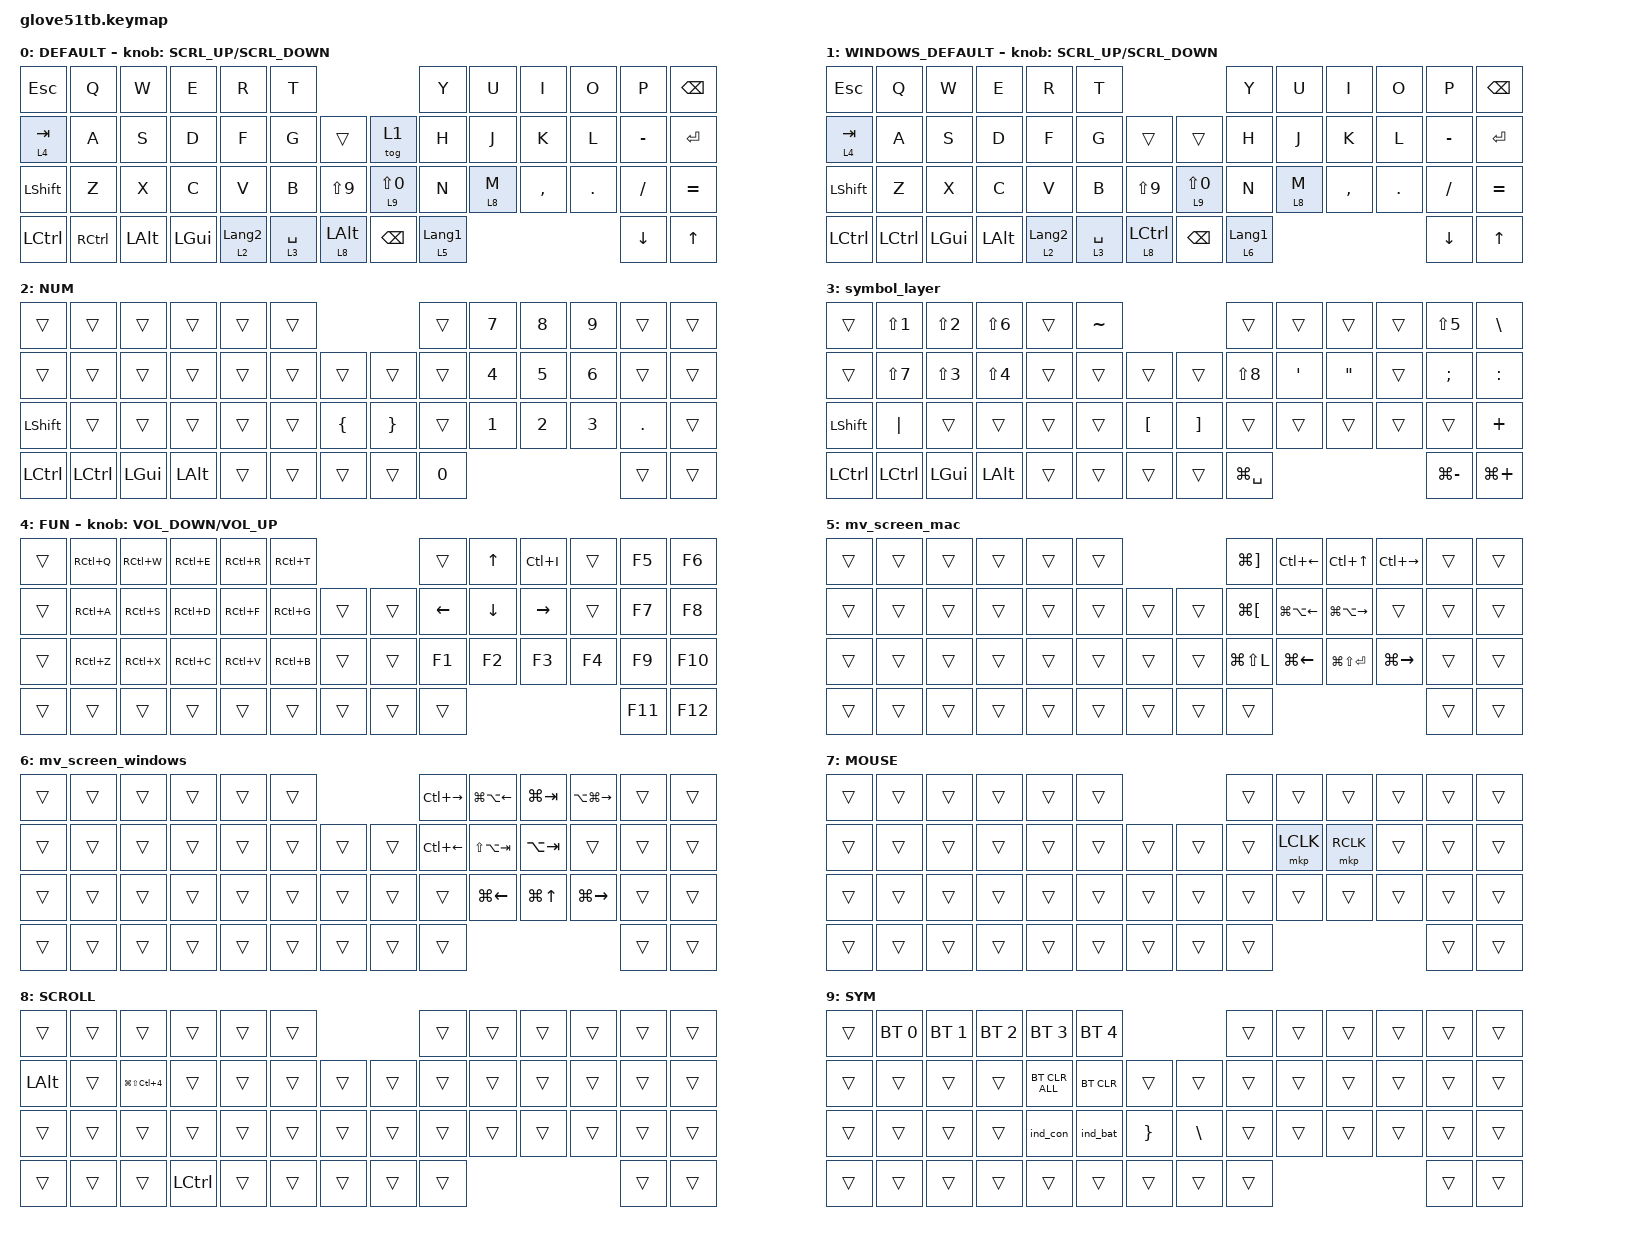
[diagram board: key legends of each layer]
#define ZMK_POINTING_DEFAULT_SCRL_VAL 150

#include <behaviors/rgbled_widget.dtsi>
#include <dt-bindings/zmk/input_transform.h>
#include <input/processors.dtsi>
#include <zephyr/dt-bindings/input/input-event-codes.h>
#include <behaviors.dtsi>
#include <dt-bindings/zmk/bt.h>
#include <dt-bindings/zmk/keys.h>
#include <dt-bindings/zmk/pointing.h>

// Layer Numbering

#define DEFAULT     0
#define WIN_DEFAULT 1
#define NUM         2
#define SYM         3
#define FUN         4
#define MV_MAC      5
#define MV_WIN      6
#define MOUSE       7
#define SCROLL      8
#define BLUETOOTH   9

// ZMKで対応していない、日本語キーの設定

#define JP_DQUOTE       AT                // "
#define JP_AMPERSAND    CARET             // &
#define JP_QUOTE        AMPERSAND         // '
#define JP_EQUAL        UNDER             // =
#define JP_CARET        EQUAL             // ^
#define JP_YEN          0x89              // ¥
#define JP_PLUS         COLON             // +
#define JP_TILDE        PLUS              // ~
#define JP_PIPE         LS(0x89)          // |
#define JP_AT           LEFT_BRACKET      // @
#define JP_COLON        SINGLE_QUOTE      // :
#define JP_ASTERISK     DOUBLE_QUOTES     // *
#define JP_BACKQUOTE    LEFT_BRACE        // `
#define JP_UNDERSCORE   LS(0x87)          // _
#define JP_LBRACKET     RIGHT_BRACKET     // [
#define JP_RBRACKET     BACKSLASH         // ]
#define JP_LPAREN       ASTERISK          // (
#define JP_RPAREN       LEFT_PARENTHESIS  // )
#define JP_LBRACE       RIGHT_BRACE       // {
#define JP_RBRACE       PIPE              // }
#define JP_KANA         LANGUAGE_1        // かな
#define JP_EISU         LANGUAGE_2        // 英数
#define JP_HANZEN       GRAVE             // 半角/全角

&mmv {
    delay-ms = <10>;
    trigger-period-ms = <3>;
    time-to-max-speed-ms = <50>;
    acceleration-exponent = <3>;
};

/ {
    input_processors {
        zip_wheel_scaler: zip_wheel_scaler {
            compatible = "zmk,input-processor-scaler";
            #input-processor-cells = <2>;
            type = <INPUT_EV_REL>;
            codes = <INPUT_REL_WHEEL>;
            track-remainders;
        };
    };
};

/ {
    combos {
        compatible = "zmk,combos";

        scroll {
            bindings = <&mo 8>;
            key-positions = <35 36>;
        };
    };

    behaviors {
        sensor_rotate_kp: sensor_rotate_kp {
            compatible = "zmk,behavior-sensor-rotate-var";
            #sensor-binding-cells = <2>;
            bindings = <&kp>, <&kp>;
        };

        mouse_wheel_scroll: mouse_wheel_scroll {
            compatible = "zmk,behavior-sensor-rotate-var";
            #sensor-binding-cells = <2>;
            bindings = <&msc>, <&msc>;

            tap-ms = <20>;
        };
    };

    keymap {
        compatible = "zmk,keymap";

        default_layer {
            label = "DEFAULT";
            bindings = <
&kp ESC           &kp Q              &kp W         &kp E         &kp R             &kp T                                       &kp Y             &kp U    &kp I      &kp O    &kp P           &kp BSPC
&lt 4 TAB         &kp A              &kp S         &kp D         &kp F             &kp G        &trans          &tog 1         &kp H             &kp J    &kp K      &kp L    &kp MINUS       &kp RETURN
&kp LEFT_SHIFT    &kp Z              &kp X         &kp C         &kp V             &kp B        &kp LS(N9)      &lt 9 LS(N0)   &kp N             &lt 8 M  &kp COMMA  &kp DOT  &kp FSLH        &kp EQUAL
&kp LEFT_CONTROL  &kp RIGHT_CONTROL  &kp LEFT_ALT  &kp LEFT_GUI  &lt 2 LANGUAGE_2  &lt 3 SPACE  &lt 8 LEFT_ALT  &kp BACKSPACE  &lt 5 LANGUAGE_1                               &kp DOWN_ARROW  &kp UP_ARROW
            >;

            sensor-bindings = <&mouse_wheel_scroll SCRL_UP SCRL_DOWN>;
        };

        windos_default_layer {
            label = "WINDOWS_DEFAULT";
            bindings = <
&kp ESC           &kp Q             &kp W         &kp E         &kp R             &kp T                                           &kp Y             &kp U    &kp I      &kp O    &kp P           &kp BSPC
&lt 4 TAB         &kp A             &kp S         &kp D         &kp F             &kp G        &trans              &trans         &kp H             &kp J    &kp K      &kp L    &kp MINUS       &kp RETURN
&kp LEFT_SHIFT    &kp Z             &kp X         &kp C         &kp V             &kp B        &kp LS(N9)          &lt 9 LS(N0)   &kp N             &lt 8 M  &kp COMMA  &kp DOT  &kp FSLH        &kp EQUAL
&kp LEFT_CONTROL  &kp LEFT_CONTROL  &kp LEFT_GUI  &kp LEFT_ALT  &lt 2 LANGUAGE_2  &lt 3 SPACE  &lt 8 LEFT_CONTROL  &kp BACKSPACE  &lt 6 LANGUAGE_1                               &kp DOWN_ARROW  &kp UP_ARROW
            >;

            sensor-bindings = <&mouse_wheel_scroll SCRL_UP SCRL_DOWN>;
        };

        number_layer {
            label = "NUM";
            bindings = <
&trans            &trans            &trans        &trans        &trans  &trans                                   &trans  &kp N7        &kp N8        &kp N9        &trans   &trans
&trans            &trans            &trans        &trans        &trans  &trans  &trans          &trans           &trans  &kp NUMBER_4  &kp N5        &kp NUMBER_6  &trans   &trans
&kp LEFT_SHIFT    &trans            &trans        &trans        &trans  &trans  &kp LEFT_BRACE  &kp RIGHT_BRACE  &trans  &kp NUMBER_1  &kp NUMBER_2  &kp NUMBER_3  &kp DOT  &trans
&kp LEFT_CONTROL  &kp LEFT_CONTROL  &kp LEFT_GUI  &kp LEFT_ALT  &trans  &trans  &trans          &trans           &kp N0                                            &trans   &trans
            >;
        };

        symbol_layer {
            bindings = <
&trans            &kp LS(NUMBER_1)  &kp LS(NUMBER_2)  &kp LS(NUMBER_6)  &trans  &kp TILDE                                       &trans         &trans            &trans             &trans  &kp LS(N5)     &kp BACKSLASH
&trans            &kp LS(N7)        &kp LS(NUMBER_3)  &kp LS(NUMBER_4)  &trans  &trans     &trans            &trans             &kp LS(N8)     &kp SINGLE_QUOTE  &kp DOUBLE_QUOTES  &trans  &kp SEMICOLON  &kp COLON
&kp LEFT_SHIFT    &kp PIPE          &trans            &trans            &trans  &trans     &kp LEFT_BRACKET  &kp RIGHT_BRACKET  &trans         &trans            &trans             &trans  &trans         &kp PLUS
&kp LEFT_CONTROL  &kp LEFT_CONTROL  &kp LEFT_GUI      &kp LEFT_ALT      &trans  &trans     &trans            &trans             &kp LG(SPACE)                                               &kp LG(MINUS)  &kp LG(PLUS)
            >;
        };

        function_layer {
            label = "FUN";
            bindings = <
&trans  &kp RC(Q)  &kp RC(W)  &kp RC(E)  &kp RC(R)  &kp RC(T)                  &trans          &kp UP_ARROW    &kp LC(I)  &trans  &kp F5   &kp F6
&trans  &kp RC(A)  &kp RC(S)  &kp RC(D)  &kp RC(F)  &kp RC(G)  &trans  &trans  &kp LEFT_ARROW  &kp DOWN_ARROW  &kp RIGHT  &trans  &kp F7   &kp F8
&trans  &kp RC(Z)  &kp RC(X)  &kp RC(C)  &kp RC(V)  &kp RC(B)  &trans  &trans  &kp F1          &kp F2          &kp F3     &kp F4  &kp F9   &kp F10
&trans  &trans     &trans     &trans     &trans     &trans     &trans  &trans  &trans                                             &kp F11  &kp F12
            >;

            sensor-bindings = <&sensor_rotate_kp C_VOLUME_DOWN C_VOLUME_UP>;
        };

        mv_screen_mac {
            bindings = <
&trans  &trans  &trans  &trans  &trans  &trans                  &kp LG(RIGHT_BRACKET)  &kp LC(LEFT_ARROW)      &kp LC(UP_ARROW)         &kp LC(RIGHT_ARROW)  &trans  &trans
&trans  &trans  &trans  &trans  &trans  &trans  &trans  &trans  &kp LG(LEFT_BRACKET)   &kp LG(LA(LEFT_ARROW))  &kp LG(LA(RIGHT_ARROW))  &trans               &trans  &trans
&trans  &trans  &trans  &trans  &trans  &trans  &trans  &trans  &kp LG(LS(L))          &kp LG(LEFT_ARROW)      &kp LG(LS(ENTER))        &kp LG(RIGHT_ARROW)  &trans  &trans
&trans  &trans  &trans  &trans  &trans  &trans  &trans  &trans  &trans                                                                                       &trans  &trans
            >;
        };

        mv_screen_windows {
            bindings = <
&trans  &trans  &trans  &trans  &trans  &trans                  &kp LC(RIGHT_ARROW)  &kp LG(LA(LEFT_ARROW))  &kp LG(TAB)       &kp LA(LG(RIGHT_ARROW))  &trans  &trans
&trans  &trans  &trans  &trans  &trans  &trans  &trans  &trans  &kp LC(LEFT_ARROW)   &kp LS(LA(TAB))         &kp LA(TAB)       &trans                   &trans  &trans
&trans  &trans  &trans  &trans  &trans  &trans  &trans  &trans  &trans               &kp LG(LEFT_ARROW)      &kp LG(UP_ARROW)  &kp LG(RIGHT_ARROW)      &trans  &trans
&trans  &trans  &trans  &trans  &trans  &trans  &trans  &trans  &trans                                                                                  &trans  &trans
            >;
        };

        mouse_layer {
            label = "MOUSE";
            bindings = <
&trans  &trans  &trans  &trans  &trans  &trans                  &trans  &trans     &trans     &trans  &trans  &trans
&trans  &trans  &trans  &trans  &trans  &trans  &trans  &trans  &trans  &mkp LCLK  &mkp RCLK  &trans  &trans  &trans
&trans  &trans  &trans  &trans  &trans  &trans  &trans  &trans  &trans  &trans     &trans     &trans  &trans  &trans
&trans  &trans  &trans  &trans  &trans  &trans  &trans  &trans  &trans                                &trans  &trans
            >;
        };

        scroll_layer {
            label = "SCROLL";
            bindings = <
&trans        &trans  &trans                    &trans     &trans  &trans                  &trans  &trans  &trans  &trans  &trans  &trans
&kp LEFT_ALT  &trans  &kp LG(LS(LC(NUMBER_4)))  &trans     &trans  &trans  &trans  &trans  &trans  &trans  &trans  &trans  &trans  &trans
&trans        &trans  &trans                    &trans     &trans  &trans  &trans  &trans  &trans  &trans  &trans  &trans  &trans  &trans
&trans        &trans  &trans                    &kp LCTRL  &trans  &trans  &trans  &trans  &trans                          &trans  &trans
            >;
        };

        bluetooth_layer {
            label = "SYM";
            bindings = <
&trans  &bt BT_SEL 0  &bt BT_SEL 1  &bt BT_SEL 2  &bt BT_SEL 3    &bt BT_SEL 4                                  &trans  &trans  &trans  &trans  &trans  &trans
&trans  &trans        &trans        &trans        &bt BT_CLR_ALL  &bt BT_CLR    &trans           &trans         &trans  &trans  &trans  &trans  &trans  &trans
&trans  &trans        &trans        &trans        &ind_con        &ind_bat      &kp RIGHT_BRACE  &kp BACKSLASH  &trans  &trans  &trans  &trans  &trans  &trans
&trans  &trans        &trans        &trans        &trans          &trans        &trans           &trans         &trans                          &trans  &trans
            >;
        };
    };
};
